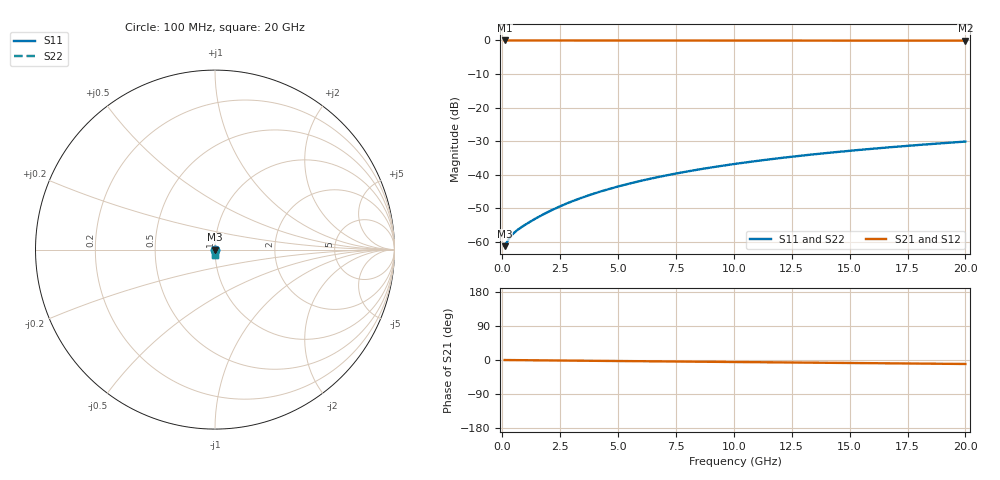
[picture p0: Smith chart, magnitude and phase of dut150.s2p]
! Touchstone file exported from HFSS 2026.1.0
!  File:  C:/ffzhzh/LocalFiles/Ansys_Project_Files/temp_train_TMRDL_150_1782983114_45328.aedt
!  Generated:  05:06:22 PM Jul  2, 2026
!  Design:  TMRDL
!  Project:  temp_train_TMRDL_150_1782983114_45328
! Variables:
!  h_bsmrdl = 2um
!  h_ox = 20um
!  h_rdl = 5um
!  h_sub = 80um
!  h_tmrdl = 3.58um
!  h_tsv = 80um
!  h_via = 3um
!  l_bsmrdl = 300um
!  l_sub = 572.45um
!  l_tmrdl = 172.45um
!  m_sub = 200um
!  pitch = 32.49um
!  r_tsv = 6um
!  s_tmrdl = 10um
!  w_bsmrdl = 18um
!  w_sub = 500um
!  w_tmrdl = 29.75um
!  x_tsv_center1 = 187.325um
!  x_tsv_center2 = 505.325um
!  x_tsv_center3 = 707.525um
!  x_tsv_center4 = 1025.525um
!  x_tsv_center5 = 1227.725um
!  x_tsv_center6 = 1545.725um
# GHz S MA R 50.000000
! Terminal data exported
! Port[1] = TM_RDL1_1_T1
! Port[2] = TM_RDL1_1_T2
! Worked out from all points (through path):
!   200 points, 100 MHz to 20 GHz, reference 50 ohm
!   highest |S21| = -0.01 dB at 100 MHz (marker M1); lowest = -0.1 dB at 20 GHz (marker M2)
!   group delay of S21, straight-line fit = 1.45 ps
!   lowest |S11| = -61.2 dB at 100 MHz (marker M3), VSWR 1.00, Z = 50.1 + j0.00912 ohm
!   |S11| at or under -10 dB: start of sweep to end of sweep
!   |S22| runs from -61.2 to -30.1 dB; largest |S21 - S12| = 3.2e-15
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0.1  0.0008693 6.0  0.9991 -0.1  0.9991 -0.1  0.0008693 6.0
! Gamma 0 0 0 0
! Port Impedance 50 0 50 0
0.3  0.001134 3.8  0.9989 -0.2  0.9989 -0.2  0.001134 3.8
0.4  0.001257 -1.1  0.9987 -0.2  0.9987 -0.2  0.001257 -1.1
0.5  0.001365 -6.3  0.9986 -0.3  0.9986 -0.3  0.001365 -6.3
0.6  0.001462 -11.4  0.9986 -0.4  0.9986 -0.4  0.001462 -11.4
0.8  0.001643 -20.4  0.9985 -0.5  0.9985 -0.5  0.001643 -20.4
1  0.001821 -28.0  0.9984 -0.6  0.9984 -0.6  0.001821 -28.0
1.6  0.002404 -43.6  0.9982 -0.9  0.9982 -0.9  0.002404 -43.6
2.2  0.003061 -52.7  0.9981 -1.2  0.9981 -1.2  0.003061 -52.7
2.8  0.003773 -58.5  0.9979 -1.5  0.9979 -1.5  0.003773 -58.5
3.5  0.004658 -62.9  0.9977 -1.9  0.9977 -1.9  0.004658 -62.9
4.2  0.005593 -66.0  0.9975 -2.3  0.9975 -2.3  0.005593 -66.0
5  0.006712 -68.6  0.9972 -2.7  0.9972 -2.7  0.006712 -68.6
5.9  0.008025 -70.8  0.9969 -3.2  0.9969 -3.2  0.008025 -70.8
6.8  0.009386 -72.7  0.9966 -3.7  0.9966 -3.7  0.009386 -72.7
8.4  0.01189 -75.4  0.996 -4.5  0.996 -4.5  0.01189 -75.4
10.1  0.01464 -77.9  0.9955 -5.4  0.9955 -5.4  0.01464 -77.9
11.7  0.01728 -79.9  0.995 -6.2  0.995 -6.2  0.01728 -79.9
13.4  0.02012 -81.8  0.9945 -7.1  0.9945 -7.1  0.02012 -81.8
15  0.02281 -83.5  0.9941 -7.9  0.9941 -7.9  0.02281 -83.5
16.7  0.02568 -85.2  0.9936 -8.8  0.9936 -8.8  0.02568 -85.2
20  0.03128 -88.1  0.9928 -10.5  0.9928 -10.5  0.03128 -88.1
